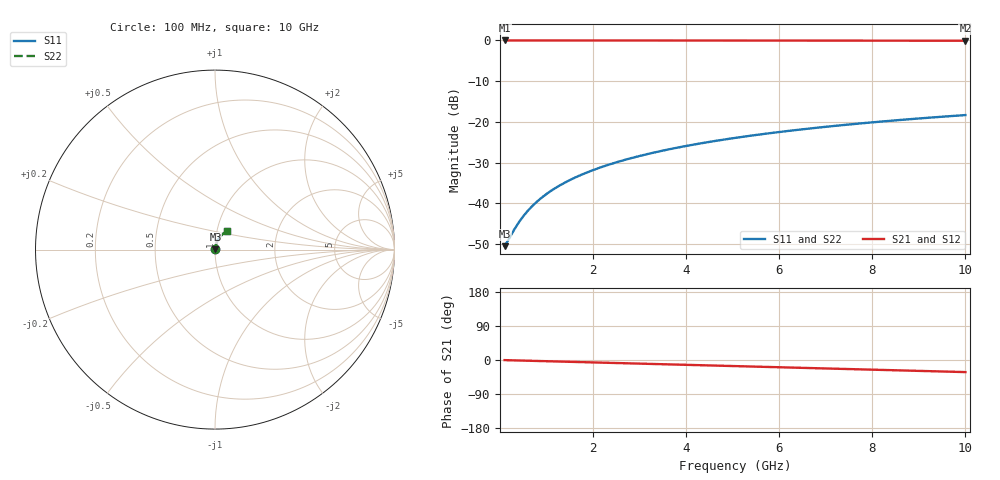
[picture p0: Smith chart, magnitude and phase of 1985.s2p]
# Hz S RI R 50.00
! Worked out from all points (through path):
!   100 points, 100 MHz to 10 GHz, reference 50 ohm
!   highest |S21| = -0.02 dB at 100 MHz (marker M1); lowest = -0.1 dB at 10 GHz (marker M2)
!   group delay of S21, straight-line fit = 8.87 ps
!   lowest |S11| = -50.5 dB at 100 MHz (marker M3), VSWR 1.01, Z = 50.3 + j0.127 ohm
!   |S11| at or under -10 dB: start of sweep to end of sweep
!   |S22| runs from -50.5 to -18.3 dB; largest |S21 - S12| = 0
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1e8  0.0027 0.00126  0.9973 -0.00554  0.9973 -0.00554  0.0027 0.00126
3e8  0.00279 0.00378  0.9971 -0.0166  0.9971 -0.0166  0.00279 0.00378
4e8  0.00284 0.00503  0.997 -0.0222  0.997 -0.0222  0.00284 0.00503
5e8  0.00291 0.00629  0.9968 -0.0277  0.9968 -0.0277  0.00291 0.00629
6e8  0.003 0.00755  0.9966 -0.0332  0.9966 -0.0332  0.003 0.00755
7e8  0.00309 0.0088  0.9964 -0.0388  0.9964 -0.0388  0.00309 0.0088
8e8  0.0032 0.0101  0.9962 -0.0443  0.9962 -0.0443  0.0032 0.0101
1e9  0.00347 0.0126  0.9956 -0.0554  0.9956 -0.0554  0.00347 0.0126
1.2e9  0.00378 0.0151  0.9948 -0.0664  0.9948 -0.0664  0.00378 0.0151
1.5e9  0.00435 0.0188  0.9935 -0.083  0.9935 -0.083  0.00435 0.0188
1.8e9  0.00505 0.0225  0.9919 -0.0996  0.9919 -0.0996  0.00505 0.0225
2.1e9  0.00587 0.0262  0.99 -0.1161  0.99 -0.1161  0.00587 0.0262
2.5e9  0.00716 0.031  0.987 -0.138  0.987 -0.138  0.00716 0.031
2.9e9  0.00865 0.0358  0.9835 -0.1599  0.9835 -0.1599  0.00865 0.0358
3.4e9  0.0108 0.0417  0.9784 -0.1872  0.9784 -0.1872  0.0108 0.0417
4.2e9  0.015 0.0509  0.9686 -0.2305  0.9686 -0.2305  0.015 0.0509
5.1e9  0.0206 0.0607  0.9552 -0.2785  0.9552 -0.2785  0.0206 0.0607
5.9e9  0.0264 0.0689  0.9411 -0.3206  0.9411 -0.3206  0.0264 0.0689
6.7e9  0.0329 0.0766  0.9252 -0.362  0.9252 -0.362  0.0329 0.0766
7.5e9  0.0401 0.0837  0.9073 -0.4025  0.9073 -0.4025  0.0401 0.0837
8.4e9  0.0489 0.0908  0.885 -0.4471  0.885 -0.4471  0.0489 0.0908
1e10  0.0663 0.1014  0.8399 -0.5231  0.8399 -0.5231  0.0663 0.1014
